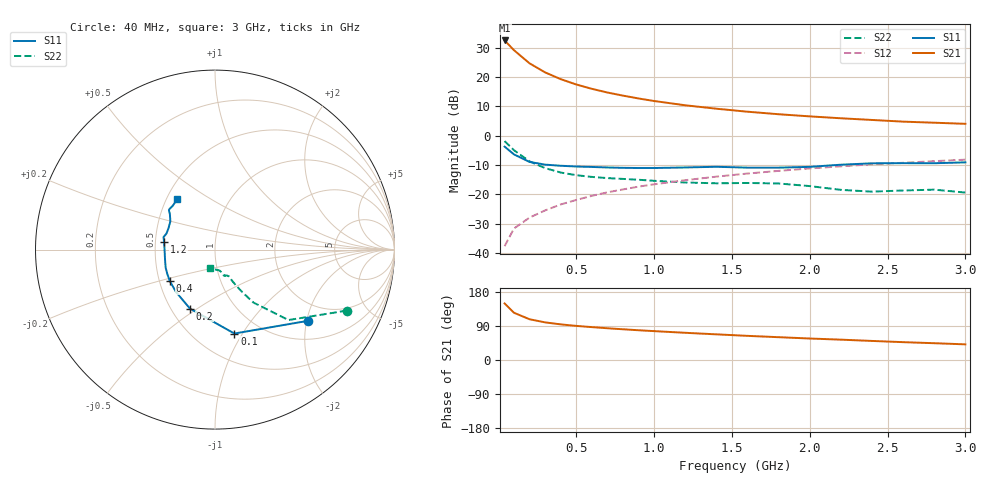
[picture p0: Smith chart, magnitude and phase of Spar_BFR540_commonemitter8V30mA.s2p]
! Filename:  BFR540J.S2P  Version:  3.0
! NXP part #: BFR540  Date: Feb 1992
! Bias condition: Vce=8V, Ic=30mA
#  MHz  S  MA  R  50
! Freq  S11  S21  S12  S22  !GUM [dB]
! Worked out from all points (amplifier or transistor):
!   21 points, 40 MHz to 3 GHz, reference 50 ohm
!   highest |S21| = 32.5 dB at 40 MHz (marker M1)
!   |S21| within 3 dB of that: start of sweep to 94.25 MHz
!   unconditionally stable (mu >= 1): 760.4 MHz to 2.926 GHz
!   at 300 MHz: K = 0.88, MSG = 23.6 dB, |S12| = -25.5 dB
!   at 1 GHz: K = 1.02, MAG = 13.4 dB, |S12| = -16.6 dB
!   at 3 GHz: K = 1.00, MSG = 6.1 dB, |S12| = -8.2 dB
!   lowest NFmin = 1.70 dB at 900 MHz
!   S11 on the Smith chart (normalised r, x): 40 MHz: 1.47, -2.03; 100 MHz: 0.76, -0.92; 200 MHz: 0.62, -0.47; 400 MHz: 0.57, -0.22; 1.2 GHz: 0.56, +0.05; 3 GHz: 0.57, +0.36
40  0.651 -37.6  42.35 149.2  0.013 73.6  0.81 -24.8
100  0.48 -77.0  28.9 124.7  0.026 64.7  0.567 -43.8
200  0.357 -113.0  17.24 107.5  0.04 64.9  0.365 -54.0
300  0.321 -132.5  12.07 99.3  0.053 67.3  0.28 -57.4
400  0.307 -145.0  9.257 94.0  0.067 68.6  0.235 -59.4
500  0.298 -153.3  7.499 90.0  0.08 70.1  0.212 -60.5
600  0.293 -159.5  6.324 86.8  0.094 70.4  0.198 -61.3
700  0.287 -164.9  5.471 83.8  0.108 70.8  0.189 -61.5
800  0.283 -170.0  4.842 81.1  0.121 70.7  0.183 -61.5
900  0.281 -175.4  4.33 78.5  0.135 70.6  0.177 -61.7
1000  0.281 179.9  3.915 76.2  0.148 70.2  0.17 -62.1
1200  0.287 171.5  3.312 71.8  0.174 69.1  0.159 -65.2
1400  0.295 166.3  2.893 67.7  0.2 68.0  0.154 -69.0
1600  0.285 161.8  2.572 63.7  0.226 66.8  0.156 -69.5
1800  0.285 155.7  2.328 60.2  0.251 65.4  0.153 -71.2
2000  0.294 147.7  2.14 56.7  0.276 63.9  0.138 -72.3
2200  0.32 141.8  1.986 53.7  0.3 62.4  0.119 -77.9
2400  0.338 139.4  1.859 50.3  0.325 60.6  0.111 -89.9
2600  0.34 138.2  1.74 47.1  0.345 59.0  0.116 -99.7
2800  0.339 134.2  1.668 44.3  0.368 57.4  0.12 -102.8
3000  0.351 126.9  1.597 41.3  0.39 55.7  0.107 -105.5
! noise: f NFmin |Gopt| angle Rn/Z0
900  1.7  0.221  139  0.14
2000  2.4  0.42  -153  0.13
